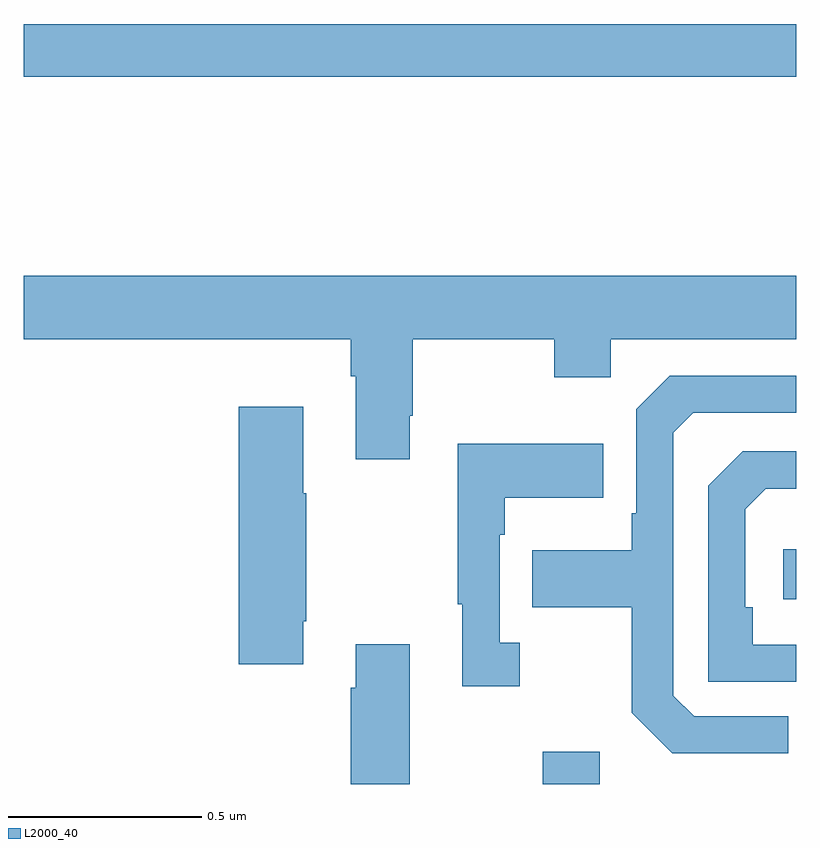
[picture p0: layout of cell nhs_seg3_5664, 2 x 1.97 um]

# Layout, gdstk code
import gdstk
lib = gdstk.Library(unit=1e-6, precision=1e-09)
def R(c, l, rs):  # rectangles x0, y0, x1, y1
    for r in rs: c.add(gdstk.rectangle(r[:2], r[2:], *l))
def P(c, l, *ps):  # polygons
    for p in ps: c.add(gdstk.Polygon(p, *l))
L2000_40 = (2000, 40)

nhs_seg3_5664 = lib.new_cell('nhs_seg3_5664')
R(nhs_seg3_5664, L2000_40, [(182.344,730.4,182.491,730.483), (182.967,730.878,183,731.008), (181,732.232,183,732.368)])
P(nhs_seg3_5664, L2000_40, [(181.999,731.353),(182.007,731.353),(182.007,731.552),(182.374,731.552),(182.374,731.453),(182.52,731.453),(182.52,731.552),(183,731.552),(183,731.716),(181,731.716),(181,731.552),(181.847,731.552),(181.847,731.456),(181.859,731.456),(181.859,731.241),(181.999,731.241)],
  [(182.98,730.575),(182.736,730.575),(182.682,730.629),(182.682,731.31),(182.733,731.361),(183,731.361),(183,731.457),(182.673,731.457),(182.586,731.37),(182.586,731.101),(182.574,731.101),(182.574,731.005),(182.317,731.005),(182.317,730.858),(182.574,730.858),(182.574,730.585),(182.679,730.479),(182.98,730.479)],
  [(181.723,730.822),(181.731,730.822),(181.731,731.153),(181.723,731.153),(181.723,731.377),(181.556,731.377),(181.556,730.71),(181.723,730.71)],
  [(182.284,730.766),(182.232,730.766),(182.232,731.045),(182.245,731.045),(182.245,731.141),(182.501,731.141),(182.501,731.281),(182.124,731.281),(182.124,730.865),(182.135,730.865),(182.135,730.653),(182.284,730.653)],
  [(183,730.761),(182.888,730.761),(182.888,730.858),(182.868,730.858),(182.868,731.112),(182.921,731.165),(183,731.165),(183,731.262),(182.862,731.262),(182.772,731.172),(182.772,730.665),(183,730.665)],
  [(181.999,730.762),(181.859,730.762),(181.859,730.649),(181.847,730.649),(181.847,730.4),(181.999,730.4)])

lib.write_gds('nhs_seg3_5664.gds')
